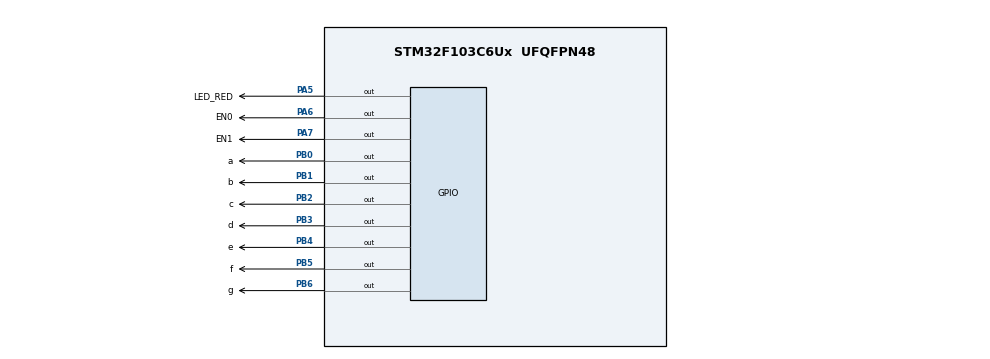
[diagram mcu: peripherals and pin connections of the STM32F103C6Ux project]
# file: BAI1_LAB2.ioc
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Mcu.Family=STM32F1
Mcu.Name=STM32F103C6Ux
Mcu.Package=UFQFPN48
NVIC.PriorityGroup=NVIC_PRIORITYGROUP_4
NVIC.TIM2_IRQn=true\:0\:0\:false\:false\:true\:true\:true
PA5.GPIO_Label=LED_RED
PA5.Signal=GPIO_Output
PA6.GPIO_Label=EN0
PA6.Signal=GPIO_Output
PA7.GPIO_Label=EN1
PA7.Signal=GPIO_Output
PB0.GPIO_Label=a
PB0.Signal=GPIO_Output
PB1.GPIO_Label=b
PB1.Signal=GPIO_Output
PB2.GPIO_Label=c
PB2.Signal=GPIO_Output
PB3.GPIO_Label=d
PB3.Signal=GPIO_Output
PB4.GPIO_Label=e
PB4.Signal=GPIO_Output
PB5.GPIO_Label=f
PB5.Signal=GPIO_Output
PB6.GPIO_Label=g
PB6.Signal=GPIO_Output
ProjectManager.HeapSize=0x200
ProjectManager.StackSize=0x400
ProjectManager.TargetToolchain=STM32CubeIDE
RCC.APB1Freq_Value=8000000
RCC.APB2Freq_Value=8000000
TIM2.Period=10
TIM2.Prescaler=7999
VP_SYS_VS_ND.Mode=No_Debug
VP_TIM2_VS_ClockSourceINT.Mode=Internal
board=custom

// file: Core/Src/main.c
/* USER CODE BEGIN Header */
/**
  ******************************************************************************
  * @file           : main.c
  * @brief          : Main program body
  ******************************************************************************
  * @attention
  *
  * <h2><center>&copy; Copyright (c) 2022 STMicroelectronics.
  * All rights reserved.</center></h2>
  *
  * This software component is licensed by ST under BSD 3-Clause license,
  * the "License"; You may not use this file except in compliance with the
  * License. You may obtain a copy of the License at:
  *                        opensource.org/licenses/BSD-3-Clause
  *
  ******************************************************************************
  */
/* USER CODE END Header */
#include "main.h"

TIM_HandleTypeDef htim2;

void SystemClock_Config(void);
static void MX_GPIO_Init(void);
static void MX_TIM2_Init(void);

/* USER CODE BEGIN 0 */
void display7SEG(int num);
/* USER CODE END 0 */

int main(void)
{

  /* MCU Configuration--------------------------------------------------------*/

  /* Reset of all peripherals, Initializes the Flash interface and the Systick. */
  HAL_Init();

  /* Configure the system clock */
  SystemClock_Config();

  /* Initialize all configured peripherals */
  MX_GPIO_Init();
  MX_TIM2_Init();
  /* USER CODE BEGIN 2 */
  HAL_TIM_Base_Start_IT(&htim2);
  /* USER CODE END 2 */

  /* Infinite loop */
  while (1)
  {

  }
}

void SystemClock_Config(void)
{
  RCC_OscInitTypeDef RCC_OscInitStruct = {0};
  RCC_ClkInitTypeDef RCC_ClkInitStruct = {0};

  /** Initializes the RCC Oscillators according to the specified parameters
  * in the RCC_OscInitTypeDef structure.
  */
  RCC_OscInitStruct.OscillatorType = RCC_OSCILLATORTYPE_HSI;
  RCC_OscInitStruct.HSIState = RCC_HSI_ON;
  RCC_OscInitStruct.HSICalibrationValue = RCC_HSICALIBRATION_DEFAULT;
  RCC_OscInitStruct.PLL.PLLState = RCC_PLL_NONE;
  if (HAL_RCC_OscConfig(&RCC_OscInitStruct) != HAL_OK)
  {
    Error_Handler();
  }
  /** Initializes the CPU, AHB and APB buses clocks
  */
  RCC_ClkInitStruct.ClockType = RCC_CLOCKTYPE_HCLK|RCC_CLOCKTYPE_SYSCLK
                              |RCC_CLOCKTYPE_PCLK1|RCC_CLOCKTYPE_PCLK2;
  RCC_ClkInitStruct.SYSCLKSource = RCC_SYSCLKSOURCE_HSI;
  RCC_ClkInitStruct.AHBCLKDivider = RCC_SYSCLK_DIV1;
  RCC_ClkInitStruct.APB1CLKDivider = RCC_HCLK_DIV1;
  RCC_ClkInitStruct.APB2CLKDivider = RCC_HCLK_DIV1;

  if (HAL_RCC_ClockConfig(&RCC_ClkInitStruct, FLASH_LATENCY_0) != HAL_OK)
  {
    Error_Handler();
  }
}

static void MX_TIM2_Init(void)
{

  TIM_ClockConfigTypeDef sClockSourceConfig = {0};
  TIM_MasterConfigTypeDef sMasterConfig = {0};

  htim2.Instance = TIM2;
  htim2.Init.Prescaler = 7999;
  htim2.Init.CounterMode = TIM_COUNTERMODE_UP;
  htim2.Init.Period = 10;
  htim2.Init.ClockDivision = TIM_CLOCKDIVISION_DIV1;
  htim2.Init.AutoReloadPreload = TIM_AUTORELOAD_PRELOAD_DISABLE;
  if (HAL_TIM_Base_Init(&htim2) != HAL_OK)
  {
    Error_Handler();
  }
  sClockSourceConfig.ClockSource = TIM_CLOCKSOURCE_INTERNAL;
  if (HAL_TIM_ConfigClockSource(&htim2, &sClockSourceConfig) != HAL_OK)
  {
    Error_Handler();
  }
  sMasterConfig.MasterOutputTrigger = TIM_TRGO_RESET;
  sMasterConfig.MasterSlaveMode = TIM_MASTERSLAVEMODE_DISABLE;
  if (HAL_TIMEx_MasterConfigSynchronization(&htim2, &sMasterConfig) != HAL_OK)
  {
    Error_Handler();
  }

}

static void MX_GPIO_Init(void)
{
  GPIO_InitTypeDef GPIO_InitStruct = {0};

  /* GPIO Ports Clock Enable */
  __HAL_RCC_GPIOA_CLK_ENABLE();
  __HAL_RCC_GPIOB_CLK_ENABLE();

  /*Configure GPIO pin Output Level */
  HAL_GPIO_WritePin(GPIOA, LED_RED_Pin|EN0_Pin|EN1_Pin, GPIO_PIN_RESET);

  /*Configure GPIO pin Output Level */
  HAL_GPIO_WritePin(GPIOB, a_Pin|b_Pin|c_Pin|d_Pin
                          |e_Pin|f_Pin|g_Pin, GPIO_PIN_RESET);

  /*Configure GPIO pins : LED_RED_Pin EN0_Pin EN1_Pin */
  GPIO_InitStruct.Pin = LED_RED_Pin|EN0_Pin|EN1_Pin;
  GPIO_InitStruct.Mode = GPIO_MODE_OUTPUT_PP;
  GPIO_InitStruct.Pull = GPIO_NOPULL;
  GPIO_InitStruct.Speed = GPIO_SPEED_FREQ_LOW;
  HAL_GPIO_Init(GPIOA, &GPIO_InitStruct);

  /*Configure GPIO pins : a_Pin b_Pin c_Pin d_Pin
                           e_Pin f_Pin g_Pin */
  GPIO_InitStruct.Pin = a_Pin|b_Pin|c_Pin|d_Pin
                          |e_Pin|f_Pin|g_Pin;
  GPIO_InitStruct.Mode = GPIO_MODE_OUTPUT_PP;
  GPIO_InitStruct.Pull = GPIO_NOPULL;
  GPIO_InitStruct.Speed = GPIO_SPEED_FREQ_LOW;
  HAL_GPIO_Init(GPIOB, &GPIO_InitStruct);

}

/* USER CODE BEGIN 4 */
void display7SEG(int num){
	if(num == 0){
		HAL_GPIO_WritePin(GPIOB, a_Pin|b_Pin|c_Pin|d_Pin|e_Pin|f_Pin, 0);
		HAL_GPIO_WritePin(GPIOB, g_Pin, 1);
	}
	else if(num == 1){
		HAL_GPIO_WritePin(GPIOB, b_Pin|c_Pin, 0);
		HAL_GPIO_WritePin(GPIOB, a_Pin|g_Pin|d_Pin|e_Pin|f_Pin, 1);
	}
	else if(num == 2){
		HAL_GPIO_WritePin(GPIOB, a_Pin|g_Pin|d_Pin|e_Pin|b_Pin, 0);
		HAL_GPIO_WritePin(GPIOB, f_Pin|c_Pin, 1);
	}
	else if(num == 3){
		HAL_GPIO_WritePin(GPIOB, a_Pin|g_Pin|d_Pin|b_Pin|c_Pin, 0);
		HAL_GPIO_WritePin(GPIOB, e_Pin|f_Pin, 1);
	}
	else if(num == 4){
		HAL_GPIO_WritePin(GPIOB, f_Pin|b_Pin|c_Pin|g_Pin, 0);
		HAL_GPIO_WritePin(GPIOB, a_Pin|d_Pin|e_Pin, 1);
	}
	else if(num == 5){
		HAL_GPIO_WritePin(GPIOB, a_Pin|g_Pin|d_Pin|f_Pin|c_Pin, 0);
		HAL_GPIO_WritePin(GPIOB, e_Pin|b_Pin, 1);
	}
	else if(num == 6){
		HAL_GPIO_WritePin(GPIOB, a_Pin|g_Pin|d_Pin|e_Pin|f_Pin|c_Pin, 0);
		HAL_GPIO_WritePin(GPIOB, b_Pin, 1);
	}
	else if(num == 7){
		HAL_GPIO_WritePin(GPIOB, a_Pin|b_Pin|c_Pin, 0);
		HAL_GPIO_WritePin(GPIOB, g_Pin|d_Pin|e_Pin|f_Pin, 1);
	}
	else if(num == 8){
		HAL_GPIO_WritePin(GPIOB, a_Pin|g_Pin|d_Pin|e_Pin|f_Pin|b_Pin|c_Pin, 0);
	}
	else if(num == 9){
		HAL_GPIO_WritePin(GPIOB, a_Pin|g_Pin|d_Pin|b_Pin|c_Pin|f_Pin|b_Pin, 0);
		HAL_GPIO_WritePin(GPIOB, e_Pin, 1);
	}
}
int counter = 101;
void HAL_TIM_PeriodElapsedCallback ( TIM_HandleTypeDef * htim )
{
	counter --;
	if(counter == 100){
		HAL_GPIO_WritePin(GPIOA, EN0_Pin, 0);
		HAL_GPIO_WritePin(GPIOA, EN1_Pin,1);
		display7SEG(1);
	}
	else if(counter == 50){
		HAL_GPIO_WritePin(GPIOA, EN0_Pin, 1);
		HAL_GPIO_WritePin(GPIOA, EN1_Pin, 0);
		display7SEG(2);
	}
	if( counter <= 0){
		counter = 101;
		HAL_GPIO_TogglePin(GPIOA, LED_RED_Pin);
	}
}
/* USER CODE END 4 */

void Error_Handler(void)
{
  __disable_irq();
  while (1)
  {
  }
}

/************************ (C) COPYRIGHT STMicroelectronics *****END OF FILE****/
